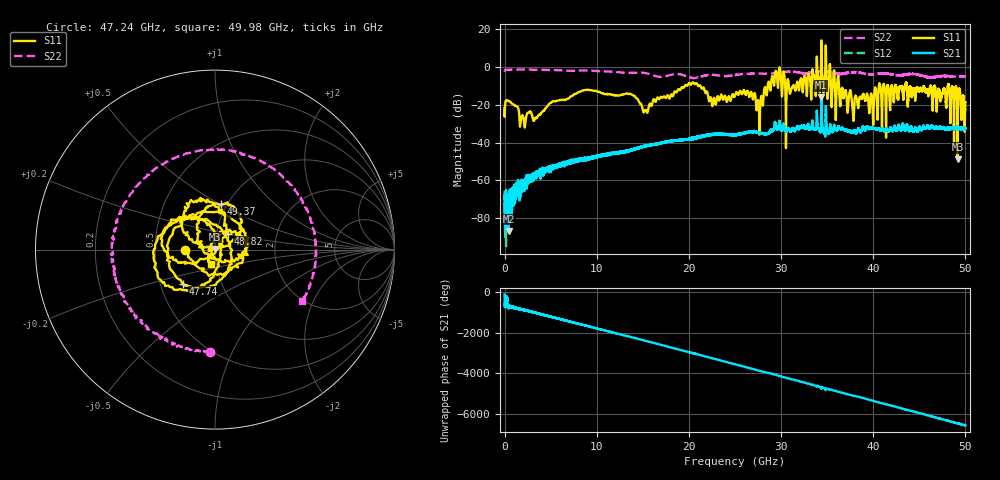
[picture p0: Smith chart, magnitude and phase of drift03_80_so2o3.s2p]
!Created with skrf (http://scikit-rf.org).
# Hz S RI R 50.0
!freq ReS11 ImS11 ReS21 ImS21 ReS12 ImS12 ReS22 ImS22
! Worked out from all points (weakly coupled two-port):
!   10001 points, 300 kHz to 50 GHz, reference 50 ohm
!   highest |S21| = -16.14 dB at 34.37 GHz (marker M1); lowest = -86.7 dB at 435.3 MHz (marker M2)
!   lowest |S11| = -48.9 dB at 49.16 GHz (marker M3), VSWR 1.01, Z = 49.9 + j0.35 ohm
!   |S11| at or under -10 dB: start of sweep to 19.55 GHz; 21.25 GHz to 28.55 GHz (7.297 GHz wide, 29.3 % of centre); 36.28 GHz to 40.61 GHz (4.331 GHz wide, 11.3 % of centre) (the widest 3 of 38)
!   |S22| runs from -5.9 to -1.3 dB; largest |S21 - S12| = 0.026
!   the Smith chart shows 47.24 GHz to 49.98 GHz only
!   S11 on the Smith chart (normalised r, x): 47.24 GHz: 0.71, -0.01; 47.74 GHz: 0.65, -0.27; 48.82 GHz: 1.14, +0.21; 49.37 GHz: 0.94, +0.51; 49.98 GHz: 0.94, -0.16
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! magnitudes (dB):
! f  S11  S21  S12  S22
! 300 kHz  -21.7  -69.8  -65.5  -2.0
! 435.3 MHz  -18.0  -86.7  -72.1  -1.4
! 3.3 GHz  -27.3  -56.9  -57.4  -1.5
! 8.335 GHz  -12.6  -49.3  -49.0  -1.9
! 15.29 GHz  -22.8  -41.8  -41.8  -3.3
! 16.67 GHz  -16.5  -40.4  -40.5  -5.1
! 20.26 GHz  -9.1  -37.4  -37.9  -5.8
! 25 GHz  -15.3  -35.9  -35.8  -4.3
! 27.52 GHz  -17.8  -34.6  -34.5  -3.5
! 29.28 GHz  -8.2  -30.9  -30.4  -3.3
! 30.73 GHz  -6.5  -32.5  -32.5  -2.4
! 33.34 GHz  -7.5  -31.0  -31.2  -2.9
! 34.37 GHz  14.0  -16.1  -17.3  -2.3
! 37.87 GHz  -28.5  -33.6  -34.0  -2.8
! 41.67 GHz  -11.3  -34.4  -34.0  -3.7
! 47.24 GHz  -15.4  -31.6  -31.5  -4.9
! 47.74 GHz  -11.6  -32.0  -32.3  -4.8
! 48.82 GHz  -18.8  -32.1  -32.3  -5.1
! 49.16 GHz  -48.9  -32.5  -32.8  -5.1
! 49.37 GHz  -11.9  -32.6  -32.5  -5.1
! 49.98 GHz  -21.3  -32.4  -32.9  -5.0
! 50 GHz  -18.6  -32.3  -33.1  -5.0
